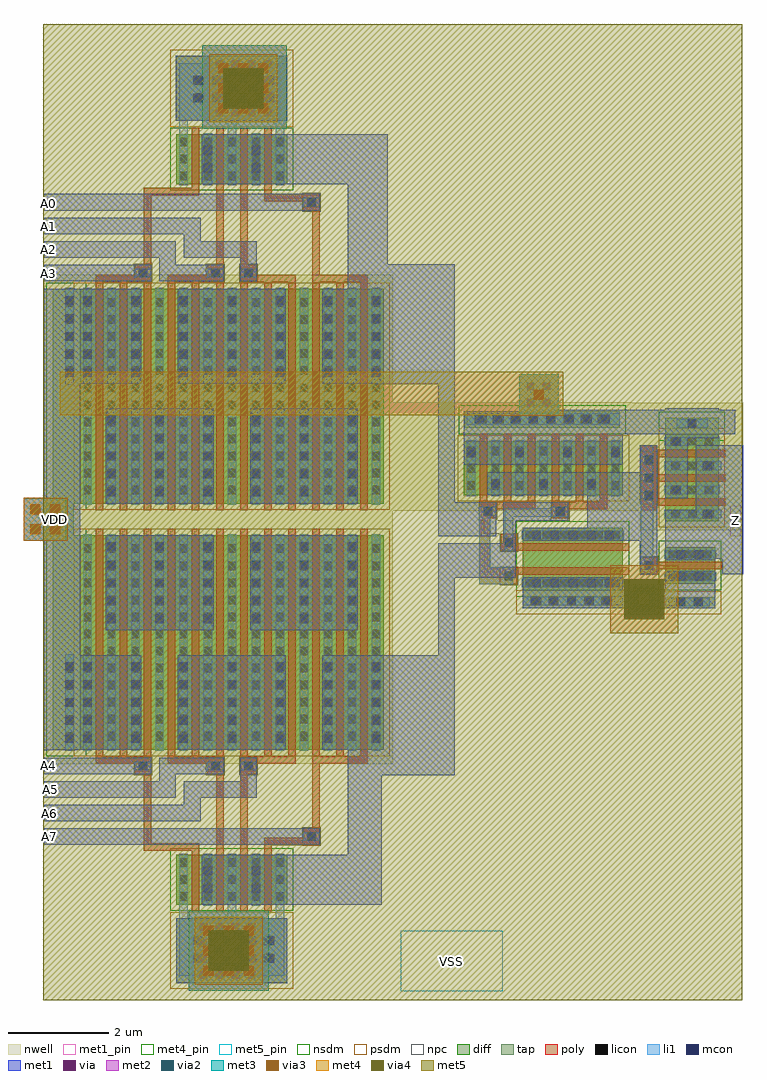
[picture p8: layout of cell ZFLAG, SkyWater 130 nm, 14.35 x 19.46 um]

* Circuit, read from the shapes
.subckt ZFLAG A0 A1 A2 A3 A4 A5 A6 A7 VDD VSS Z
XM1 NAND2_2/B A4 VSS VSS sky130_fd_pr__nfet_01v8 w=1 l=0.15
XM2 NAND2_2/A A3 VSS VSS sky130_fd_pr__nfet_01v8 w=1 l=0.15
XM3 VSS A5 NAND2_2/B VSS sky130_fd_pr__nfet_01v8 w=1 l=0.15
XM4 VSS A2 NAND2_2/A VSS sky130_fd_pr__nfet_01v8 w=1 l=0.15
XM5 NAND2_2/B A6 VSS VSS sky130_fd_pr__nfet_01v8 w=1 l=0.15
XM6 NAND2_2/A A1 VSS VSS sky130_fd_pr__nfet_01v8 w=1 l=0.15
XM7 VSS A7 NAND2_2/B VSS sky130_fd_pr__nfet_01v8 w=1 l=0.15
XM8 VSS A0 NAND2_2/A VSS sky130_fd_pr__nfet_01v8 w=1 l=0.15
XM9 n1 NAND2_2/A VSS VSS sky130_fd_pr__nfet_01v8 w=2 l=0.15
XM10 inv_3/A NAND2_2/B n1 VSS sky130_fd_pr__nfet_01v8 w=2 l=0.15
XM11 Z inv_3/A VSS VSS sky130_fd_pr__nfet_01v8 w=1 l=0.15
XM12 n2 A4 VDD VDD sky130_fd_pr__pfet_01v8 w=4.28 l=0.15 m=3
XM13 n3 A3 VDD VDD sky130_fd_pr__pfet_01v8 w=4.28 l=0.15 m=3
XM14 n4 A5 n2 VDD sky130_fd_pr__pfet_01v8 w=4.28 l=0.15 m=3
XM15 n5 A2 n3 VDD sky130_fd_pr__pfet_01v8 w=4.28 l=0.15 m=3
XM16 n6 A6 n4 VDD sky130_fd_pr__pfet_01v8 w=4.28 l=0.15 m=3
XM17 n7 A1 n5 VDD sky130_fd_pr__pfet_01v8 w=4.28 l=0.15 m=3
XM18 NAND2_2/B A7 n6 VDD sky130_fd_pr__pfet_01v8 w=4.28 l=0.15 m=3
XM19 NAND2_2/A A0 n7 VDD sky130_fd_pr__pfet_01v8 w=4.28 l=0.15 m=3
XM20 inv_3/A NAND2_2/A VDD VDD sky130_fd_pr__pfet_01v8 w=1.07 l=0.15 m=3
XM21 VDD NAND2_2/B inv_3/A VDD sky130_fd_pr__pfet_01v8 w=1.07 l=0.15 m=3
XM22 VDD inv_3/A Z VDD sky130_fd_pr__pfet_01v8 w=1.07 l=0.15 m=3
.ends

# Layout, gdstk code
from math import pi, radians
import gdstk
lib = gdstk.Library(unit=1e-6, precision=1e-09)
def R(c, l, rs):  # rectangles x0, y0, x1, y1
    for r in rs: c.add(gdstk.rectangle(r[:2], r[2:], *l))
def A(c, l, x, y, w, h, nx, ny, dx, dy):  # array of equal rectangles
    R(c, l, [(x+i*dx, y+j*dy, x+i*dx+w, y+j*dy+h) for i in range(nx) for j in range(ny)])
nwell = (64, 20)
diff = (65, 20)
tap = (65, 44)
poly = (66, 20)
licon = (66, 44)
li1 = (67, 20)
mcon = (67, 44)
met1_pin = (68, 16)
met1 = (68, 20)
via = (68, 44)
met2 = (69, 20)
via2 = (69, 44)
met3 = (70, 20)
via3 = (70, 44)
met4_pin = (71, 16)
met4 = (71, 20)
via4 = (71, 44)
met5_pin = (72, 16)
met5 = (72, 20)
nsdm = (93, 44)
psdm = (94, 20)
npc = (95, 20)

sky130_fd_pr__pfet_01v8_ = lib.new_cell('sky130_fd_pr__pfet_01v8_64A2S3')
R(sky130_fd_pr__pfet_01v8_, nwell, [(-3.205,-2.42,3.205,2.455)])
R(sky130_fd_pr__pfet_01v8_, diff, [(-3.025,-2.14,3.025,2.14)])
A(sky130_fd_pr__pfet_01v8_, poly, -2.715, -2.42, 1.11, 0.15, 4, 1, 1.44, 0)
A(sky130_fd_pr__pfet_01v8_, poly, -2.715, -2.27, 0.15, 4.54, 12, 1, 0.48, 0)
A(sky130_fd_pr__pfet_01v8_, licon, -2.965, -1.955, 0.17, 0.17, 13, 12, 0.48, 0.34)
A(sky130_fd_pr__pfet_01v8_, li1, -2.965, -2.16, 0.17, 4.32, 13, 1, 0.48, 0)
A(sky130_fd_pr__pfet_01v8_, mcon, -2.965, -2, 0.17, 0.17, 7, 5, 0.96, 0.36)
A(sky130_fd_pr__pfet_01v8_, mcon, -2.485, 0.385, 0.17, 0.17, 6, 5, 0.96, 0.36)
A(sky130_fd_pr__pfet_01v8_, met1, -2.995, -2.14, 0.23, 1.89, 7, 1, 0.96, 0)
A(sky130_fd_pr__pfet_01v8_, met1, -2.515, 0.24, 0.23, 1.9, 6, 1, 0.96, 0)
R(sky130_fd_pr__pfet_01v8_, psdm, [(-3.15,-2.265,3.15,2.265)])

sky130_fd_pr__nfet_01v8_ = lib.new_cell('sky130_fd_pr__nfet_01v8_S9NJ5Q')
R(sky130_fd_pr__nfet_01v8_, diff, [(-1.105,-0.5,1.105,0.5)])
A(sky130_fd_pr__nfet_01v8_, poly, -0.795, -0.63, 0.15, 1.26, 4, 1, 0.48, 0)
A(sky130_fd_pr__nfet_01v8_, licon, -1.045, -0.425, 0.17, 0.17, 5, 3, 0.48, 0.34)
A(sky130_fd_pr__nfet_01v8_, li1, -1.045, -0.52, 0.17, 1.04, 5, 1, 0.48, 0)
R(sky130_fd_pr__nfet_01v8_, mcon, [(-0.565,-0.265,-0.395,-0.095), (0.395,-0.265,0.565,-0.095), (-0.565,0.095,-0.395,0.265), (0.395,0.095,0.565,0.265)])
R(sky130_fd_pr__nfet_01v8_, met1, [(-0.595,-0.5,-0.365,0.5), (0.365,-0.5,0.595,0.5)])
R(sky130_fd_pr__nfet_01v8_, nsdm, [(-1.23,-0.625,1.23,0.625)])

nor4 = lib.new_cell('nor4')
R(nor4, nwell, [(-3.01,4.955,-2.46,5.115), (-3.01,5.115,-2.305,5.235), (-3.01,5.235,-2.28,7.335), (-3.01,7.335,-2.41,7.445), (-3.01,7.445,-2.46,9.83)])
R(nor4, tap, [(-0.36,0.59,1.85,1.875), (-2.83,5.235,-2.28,9.515)])
R(nor4, poly, [(-1.01,3.22,0.1,3.37), (0.43,3.25,0.58,4.75), (0.91,3.25,1.06,4.75), (1.39,3.275,1.54,3.335), (1.39,3.335,2.5,3.485), (-1.01,3.37,-0.86,4.75), (2.17,3.485,2.5,3.67), (2.35,3.67,2.5,4.955), (-1.19,4.75,-0.86,5.08), (0.25,4.75,0.58,5.08), (0.91,4.75,1.24,5.08)])
A(nor4, licon, 0.02, 0.995, 0.17, 0.17, 5, 2, 0.34, 0.34)
A(nor4, licon, -2.58, 5.415, 0.17, 0.17, 1, 5, 0, 0.34)
R(nor4, licon, [(2.25,3.42,2.42,3.59), (-1.11,4.83,-0.94,5), (0.33,4.83,0.5,5), (0.99,4.83,1.16,5)])
A(nor4, li1, -0.3, 1.875, 0.17, 0.25, 3, 1, 0.96, 0)
R(nor4, li1, [(-0.3,0.73,1.79,1.875), (2.17,3.42,2.5,3.59), (-1.19,4.83,-0.86,5), (0.25,4.83,0.58,5), (0.91,4.83,1.24,5), (-2.58,5.215,-2.41,7.145)])
A(nor4, mcon, -0.02, 0.985, 0.17, 0.17, 5, 2, 0.36, 0.36)
A(nor4, mcon, -2.58, 5.375, 0.17, 0.17, 1, 5, 0, 0.36)
R(nor4, mcon, [(2.25,3.42,2.42,3.59), (-1.11,4.83,-0.94,5), (0.33,4.83,0.5,5), (0.99,4.83,1.16,5)])
R(nor4, met1, [(-0.1,0.935,1.67,1.585), (0.38,2.145,3.74,3.145), (3.055,3.145,3.74,4.75), (-3.01,3.34,2.5,3.67), (-3.01,3.81,0.125,4.14), (-0.21,4.14,0.125,4.28), (-3.01,4.28,-0.375,4.61), (-0.21,4.28,1.24,4.61), (-0.705,4.61,-0.375,4.75), (0.91,4.61,1.24,5.08), (-3.01,4.75,-0.86,5.08), (-0.705,4.75,0.58,5.08), (3.055,4.75,3.95,5.08), (3.055,5.08,3.74,5.235), (-2.655,5.235,-2.25,7.125), (-2.02,5.235,-1.29,7.125), (-0.1,5.235,1.59,7.125), (2.78,5.235,3.51,7.125), (-1.54,7.615,-0.81,9.515), (-0.58,7.615,0.15,9.515), (1.34,7.615,3.03,9.515)])
R(nor4, nsdm, [(-2.955,5.11,-2.155,9.64)])
R(nor4, psdm, [(-0.485,0.465,1.975,2)])
R(nor4, npc, [(2.15,3.32,2.52,3.69), (-1.21,4.73,-0.84,5.1), (0.23,4.73,0.6,5.1), (0.89,4.73,1.26,5.1)])
nor4.add(gdstk.Reference(sky130_fd_pr__pfet_01v8_, (0.745,7.375)))
nor4.add(gdstk.Reference(sky130_fd_pr__nfet_01v8_, (0.745,2.645)))
nor4.add(gdstk.Label('A', (-3.01,4.905), layer=68, texttype=16))
nor4.add(gdstk.Label('B', (-3.01,4.445), layer=68, texttype=16))
nor4.add(gdstk.Label('C', (-3.01,3.965), layer=68, texttype=16))
nor4.add(gdstk.Label('D', (-3.01,3.49), layer=68, texttype=16))
nor4.add(gdstk.Label('VSS', (0.79,0.935), layer=68, texttype=16))
nor4.add(gdstk.Label('VDD', (-2.655,6.175), layer=68, texttype=16))
nor4.add(gdstk.Label('Y', (3.95,4.91), layer=68, texttype=16))

pmos_p2_w321_l015_f3 = lib.new_cell('pmos_p2-w321-L015-f3')
R(pmos_p2_w321_l015_f3, nwell, [(-1.765,-0.715,1.765,0.845)])
R(pmos_p2_w321_l015_f3, diff, [(-1.585,-0.535,1.585,0.535)])
A(pmos_p2_w321_l015_f3, poly, -1.275, -0.69, 0.15, 1.355, 6, 1, 0.48, 0)
R(pmos_p2_w321_l015_f3, poly, [(-1.275,0.665,-0.165,0.815), (0.165,0.665,1.275,0.815)])
A(pmos_p2_w321_l015_f3, licon, -1.525, -0.425, 0.17, 0.17, 7, 3, 0.48, 0.34)
A(pmos_p2_w321_l015_f3, li1, -1.525, -0.555, 0.17, 1.11, 7, 1, 0.48, 0)
A(pmos_p2_w321_l015_f3, mcon, -1.525, -0.39, 0.17, 0.17, 4, 1, 0.96, 0)
A(pmos_p2_w321_l015_f3, mcon, -1.045, 0.22, 0.17, 0.17, 3, 1, 0.96, 0)
R(pmos_p2_w321_l015_f3, met1, [(-1.585,-0.535,1.585,-0.075), (-1.125,0.075,1.585,0.535)])
R(pmos_p2_w321_l015_f3, psdm, [(-1.71,-0.66,1.71,0.66)])

nmos_2shared_w200_l015_f = lib.new_cell('nmos_2shared_W200-L015-F1')
R(nmos_2shared_w200_l015_f, diff, [(-0.625,-1,0.625,1)])
R(nmos_2shared_w200_l015_f, poly, [(-0.315,-1.13,-0.165,1.13), (0.165,-1.13,0.315,1.13)])
A(nmos_2shared_w200_l015_f, licon, -0.565, -0.935, 0.17, 0.17, 1, 6, 0, 0.34)
A(nmos_2shared_w200_l015_f, licon, 0.395, -0.935, 0.17, 0.17, 1, 6, 0, 0.34)
R(nmos_2shared_w200_l015_f, li1, [(-0.565,-1.02,-0.395,1.02), (0.395,-1.02,0.565,1.02)])
A(nmos_2shared_w200_l015_f, mcon, -0.565, -0.805, 0.17, 0.17, 1, 5, 0, 0.36)
A(nmos_2shared_w200_l015_f, mcon, 0.395, -0.805, 0.17, 0.17, 1, 5, 0, 0.36)
R(nmos_2shared_w200_l015_f, met1, [(-0.595,-1,-0.365,1), (0.365,-1,0.595,1)])
R(nmos_2shared_w200_l015_f, nsdm, [(-0.75,-1.125,0.75,1.125)])

nand2 = lib.new_cell('NAND2')
R(nand2, nwell, [(1.78,3.42,5.31,4.02)])
R(nand2, diff, [(3.13,0.27,5.13,0.3), (4.97,0.73,4.98,0.74)])
R(nand2, tap, [(3.13,-0.085,5.13,0.27), (1.98,3.51,5.065,3.84)])
R(nand2, poly, [(2.265,0.395,3.02,0.73), (2.265,0.73,2.48,1.705), (2.69,1.06,3.57,1.21), (2.69,1.21,3.02,1.395), (2.265,1.705,2.6,2.04), (3.71,1.705,4.045,2.04)])
A(nand2, licon, 3.335, -0.03, 0.17, 0.17, 5, 1, 0.34, 0)
A(nand2, licon, 2.245, 3.6, 0.17, 0.17, 8, 1, 0.34, 0)
R(nand2, licon, [(2.77,0.475,2.94,0.645), (2.77,1.14,2.94,1.31), (2.35,1.76,2.52,1.93), (3.795,1.76,3.965,1.93)])
R(nand2, li1, [(3.13,-0.03,5.13,0.14), (2.265,0.395,2.94,0.73), (2.265,0.73,2.48,1.76), (2.77,1.06,2.94,1.735), (2.77,1.735,4.045,1.905), (2.265,1.76,2.6,1.935), (3.71,1.905,4.045,1.935), (2.02,3.57,5.065,3.805)])
A(nand2, mcon, 3.295, -0.03, 0.17, 0.17, 5, 1, 0.36, 0)
A(nand2, mcon, 2.175, 3.6, 0.17, 0.17, 8, 1, 0.36, 0)
R(nand2, mcon, [(2.77,1.14,2.94,1.31), (2.35,1.76,2.52,1.93), (3.795,1.76,3.965,1.93)])
R(nand2, met1, [(3.13,-0.085,5.13,0.525), (1.78,0.525,2.99,1.205), (2.74,1.205,2.99,1.66), (3.13,1.26,5.31,1.52), (1.78,1.35,2.6,2.025), (4.42,1.52,5.31,2.17), (2.74,1.66,4.04,2.03), (2.425,2.17,5.31,2.63), (1.955,2.775,5.125,3.84)])
R(nand2, nsdm, [(3.005,0.27,5.255,0.425), (4.845,0.425,5.105,0.865), (1.855,3.385,5.19,3.965)])
R(nand2, psdm, [(3.005,-0.21,5.255,0.27)])
R(nand2, npc, [(2.67,0.375,3.04,0.745), (2.67,1.04,3.04,1.4), (2.35,1.4,3.04,1.41), (2.35,1.41,2.94,1.66), (2.25,1.66,2.94,1.67), (3.695,1.66,4.065,2.03), (2.25,1.67,2.62,2.03)])
nand2.add(gdstk.Reference(pmos_p2_w321_l015_f3, (3.545,2.705), x_reflection=True))
nand2.add(gdstk.Reference(nmos_2shared_w200_l015_f, (4.13,0.895), rotation=3*pi/2))
nand2.add(gdstk.Label('A', (1.78,1.705), layer=68, texttype=16))
nand2.add(gdstk.Label('B', (1.78,0.865), layer=68, texttype=16))
nand2.add(gdstk.Label('VSS', (4.13,0.27), layer=68, texttype=16))
nand2.add(gdstk.Label('VDD', (3.545,3.42), layer=68, texttype=16))
nand2.add(gdstk.Label('Y', (5.31,2.255), layer=68, texttype=16))

c_sky130_fd_pr__nfet_01v8_ = lib.new_cell('sky130_fd_pr__nfet_01v8_6H9P4D')
R(c_sky130_fd_pr__nfet_01v8_, diff, [(-0.365,-0.5,0.365,0.5)])
R(c_sky130_fd_pr__nfet_01v8_, poly, [(-0.075,-0.63,0.075,0.63)])
A(c_sky130_fd_pr__nfet_01v8_, licon, -0.305, -0.425, 0.17, 0.17, 1, 3, 0, 0.34)
A(c_sky130_fd_pr__nfet_01v8_, licon, 0.135, -0.425, 0.17, 0.17, 1, 3, 0, 0.34)
R(c_sky130_fd_pr__nfet_01v8_, li1, [(-0.305,-0.52,-0.135,0.52), (0.135,-0.52,0.305,0.52)])
R(c_sky130_fd_pr__nfet_01v8_, mcon, [(-0.305,-0.265,-0.135,-0.095), (0.135,-0.265,0.305,-0.095), (-0.305,0.095,-0.135,0.265), (0.135,0.095,0.305,0.265)])
R(c_sky130_fd_pr__nfet_01v8_, met1, [(-0.335,-0.5,-0.105,0.5), (0.105,-0.5,0.335,0.5)])
R(c_sky130_fd_pr__nfet_01v8_, nsdm, [(-0.49,-0.625,0.49,0.625)])

efepmos_w107_l15_f3 = lib.new_cell('efepmos_W107-L15-F3')
R(efepmos_w107_l15_f3, nwell, [(-1.045,-1.035,1.045,0.845)])
R(efepmos_w107_l15_f3, diff, [(-0.865,-0.535,0.865,0.535)])
A(efepmos_w107_l15_f3, poly, -0.555, -0.69, 0.15, 1.355, 3, 1, 0.48, 0)
R(efepmos_w107_l15_f3, poly, [(-0.645,-1.02,0.645,-0.69)])
A(efepmos_w107_l15_f3, licon, -0.425, -0.94, 0.17, 0.17, 3, 1, 0.34, 0)
A(efepmos_w107_l15_f3, licon, -0.805, -0.425, 0.17, 0.17, 1, 3, 0, 0.34)
A(efepmos_w107_l15_f3, licon, 0.155, -0.425, 0.17, 0.17, 1, 3, 0, 0.34)
A(efepmos_w107_l15_f3, licon, -0.325, -0.415, 0.17, 0.17, 1, 3, 0, 0.34)
A(efepmos_w107_l15_f3, licon, 0.635, -0.415, 0.17, 0.17, 1, 3, 0, 0.34)
R(efepmos_w107_l15_f3, li1, [(-0.645,-0.94,0.645,-0.77), (-0.805,-0.555,-0.635,0.555), (-0.325,-0.555,-0.155,0.585), (0.155,-0.555,0.325,0.555), (0.635,-0.555,0.805,0.585)])
A(efepmos_w107_l15_f3, mcon, -0.445, -0.94, 0.17, 0.17, 3, 1, 0.36, 0)
R(efepmos_w107_l15_f3, mcon, [(-0.805,-0.395,-0.635,-0.225), (0.155,-0.395,0.325,-0.225), (-0.325,0.215,-0.155,0.385), (0.635,0.215,0.805,0.385)])
R(efepmos_w107_l15_f3, met1, [(-0.645,-1.02,0.645,-0.69), (-1.045,-0.535,0.405,-0.08), (-0.405,0.08,1.045,0.535)])
R(efepmos_w107_l15_f3, psdm, [(-0.99,-0.66,0.99,0.66)])
R(efepmos_w107_l15_f3, npc, [(-0.525,-1.04,0.525,-0.67)])

inv = lib.new_cell('inv')
R(inv, nwell, [(1.88,0,2.06,1.83), (1.63,1.44,1.715,1.45), (1.115,1.45,1.715,1.69), (0.505,1.735,0.52,1.83), (0,1.83,2.06,2.43)])
R(inv, tap, [(0.5,-1.555,1.5,-1.34), (0.5,1.91,1.57,2.24)])
R(inv, poly, [(0.015,-0.87,0.35,-0.78), (0.015,-0.78,0.375,-0.63), (0.015,-0.63,0.35,-0.54)])
R(inv, licon, [(0.73,-1.52,0.9,-1.35), (1.07,-1.52,1.24,-1.35), (0.095,-0.79,0.265,-0.62), (0.955,2.04,1.125,2.21)])
R(inv, li1, [(0.575,-1.52,1.395,-1.35), (0.015,-0.87,0.265,1.695), (0.735,2.04,1.35,2.21)])
R(inv, mcon, [(0.72,-1.52,0.89,-1.35), (1.08,-1.52,1.25,-1.35), (0.095,-0.79,0.265,-0.62), (0.955,2.04,1.125,2.21)])
R(inv, met1, [(0.5,-1.555,1.5,-0.805), (0,-0.875,0.345,0.4), (1.64,-0.875,2.06,-0.57), (0.5,-0.57,2.06,0.41), (0,0.4,0.265,1.69), (1.115,0.41,2.06,1.69), (0.505,1.735,0.52,1.83), (0.5,1.83,1.57,2.43)])
R(inv, nsdm, [(0.375,1.785,1.695,2.365)])
R(inv, psdm, [(0.375,-1.68,1.625,-1.215)])
R(inv, npc, [(-0.005,-0.89,0.365,-0.52)])
inv.add(gdstk.Reference(c_sky130_fd_pr__nfet_01v8_, (1,-0.705), rotation=3*pi/2))
inv.add(gdstk.Reference(efepmos_w107_l15_f3, (1.035,1.045), rotation=3*pi/2))
inv.add(gdstk.Label('A', (0,0.39), layer=68, texttype=16))
inv.add(gdstk.Label('VSS', (0.99,-1.555), layer=68, texttype=16))
inv.add(gdstk.Label('VDD', (1.05,2.43), layer=68, texttype=16))
inv.add(gdstk.Label('Y', (2.06,0.39), layer=68, texttype=16))

zflag = lib.new_cell('ZFLAG')
R(zflag, nwell, [(0.54,8.86,1.09,10.12), (7.245,9.365,8.715,11.525), (12.09,9.365,14.315,11.52)])
R(zflag, tap, [(0.54,8.86,1.09,8.875), (0.54,8.875,0.965,9.505), (0.54,9.505,1.09,10.12)])
R(zflag, met1_pin, [(0.42,2.76,0.54,2.96), (0.42,3.22,0.54,3.42), (0.43,3.7,0.55,3.9), (0.4,4.18,0.52,4.38), (14.06,8.855,14.26,9.465), (0.43,14,0.49,14.18), (0.43,14.48,0.49,14.66), (0.43,14.95,0.49,15.13), (0.42,15.41,0.48,15.59)])
R(zflag, met1, [(3.01,-0.06,5.225,1.235), (0.39,2.71,0.58,3.02), (0.38,3.18,0.57,3.49), (0.38,3.65,0.57,3.96), (6.955,4.085,8.565,4.22), (0.37,4.12,0.56,4.43), (6.66,4.22,8.565,6.48), (0.36,4.59,1.09,8.765), (8.235,6.48,8.565,8.33), (11.905,7.42,13.305,7.775), (8.235,8.33,8.57,8.66), (8.235,8.66,8.565,8.71), (-0.035,8.765,1.09,9.615), (12.095,8.765,12.585,10.135), (14.01,8.795,14.31,9.545), (8.235,8.855,8.565,11.89), (0.36,9.615,1.09,13.785), (8.8,10.855,11.91,10.885), (8.8,10.885,14.16,11.265), (9.9,11.265,14.16,11.295), (9.85,11.295,14.16,11.38), (9.85,11.38,10.635,12.08), (6.98,11.89,8.565,13.945), (6.895,13.945,8.565,14.275), (0.37,13.95,0.56,14.26), (6.895,14.275,7.225,16.875), (0.36,14.42,0.55,14.73), (0.37,14.89,0.56,15.18), (0.36,15.36,0.55,15.65), (3,17.145,5.225,18.435)])
A(zflag, via, 3.47, 0.03, 0.15, 0.15, 4, 4, 0.32, 0.32)
A(zflag, via, 3.79, 17.235, 0.15, 0.15, 4, 4, 0.32, 0.32)
R(zflag, via, [(12.26,7.52,12.41,7.67), (0.155,8.955,0.305,9.105), (0.475,8.955,0.625,9.105), (0.155,9.275,0.305,9.425), (0.475,9.275,0.625,9.425), (10,11.445,10.15,11.595), (10.32,11.445,10.47,11.595), (10,11.765,10.15,11.915), (10.32,11.765,10.47,11.915)])
R(zflag, met2, [(3.255,-0.215,4.855,1.385), (12.105,7.365,12.57,7.83), (-0.035,8.765,0.815,9.615), (9.85,11.295,10.635,12.08), (3.525,16.98,5.215,18.65)])
A(zflag, via2, 3.55, 0.085, 0.2, 0.2, 3, 3, 0.4, 0.4)
A(zflag, via2, 3.845, 17.29, 0.2, 0.2, 3, 3, 0.4, 0.4)
R(zflag, via2, [(12.235,7.495,12.435,7.695), (0.09,8.89,0.29,9.09), (0.49,8.89,0.69,9.09), (0.09,9.29,0.29,9.49), (0.49,9.29,0.69,9.49), (10.135,11.58,10.335,11.78)])
R(zflag, met3, [(3.255,-0.215,4.855,1.385), (12.03,7.295,12.66,7.895), (-0.035,8.765,0.815,9.615), (9.85,11.295,10.635,12.08), (3.525,16.98,5.215,18.65)])
A(zflag, via3, 3.55, 0.085, 0.2, 0.2, 3, 3, 0.4, 0.4)
A(zflag, via3, 3.845, 17.29, 0.2, 0.2, 3, 3, 0.4, 0.4)
R(zflag, via3, [(12.235,7.495,12.435,7.695), (0.09,8.89,0.29,9.09), (0.49,8.89,0.69,9.09), (0.09,9.29,0.29,9.49), (0.49,9.29,0.69,9.49), (10.135,11.58,10.335,11.78)])
R(zflag, met4_pin, [(0.47,8.91,0.69,9.46)])
R(zflag, met4, [(3.375,-0.09,4.735,1.27), (11.66,6.92,13.02,8.28), (-0.035,8.765,0.84,9.625), (9.49,11.255,10.72,11.27), (0.685,11.27,10.72,12.13), (3.665,17.11,5.025,18.47)])
R(zflag, via4, [(3.655,0.19,4.455,0.99), (11.94,7.2,12.74,8), (3.945,17.39,4.745,18.19)])
R(zflag, met5_pin, [(7.485,-0.22,9.515,0.985)])
R(zflag, met5, [(0.355,-0.395,14.295,19.07)])
R(zflag, nsdm, [(0.415,8.735,1.215,9), (0.415,9,1.09,9.38), (0.415,9.38,1.215,10.245)])
zflag.add(gdstk.Reference(nor4, (3.37,-0.64)))
zflag.add(gdstk.Reference(nor4, (3.37,19.02), x_reflection=True))
zflag.add(gdstk.Reference(nand2, (6.785,7.505)))
zflag.add(gdstk.Reference(inv, (12.255,8.975)))
zflag.add(gdstk.Label('A0', (0.45,15.5), layer=68, texttype=16))
zflag.add(gdstk.Label('A1', (0.46,15.04), layer=68, texttype=16))
zflag.add(gdstk.Label('A2', (0.46,14.57), layer=68, texttype=16))
zflag.add(gdstk.Label('A3', (0.46,14.09), layer=68, texttype=16))
zflag.add(gdstk.Label('A4', (0.46,4.28), layer=68, texttype=16))
zflag.add(gdstk.Label('A5', (0.49,3.8), layer=68, texttype=16))
zflag.add(gdstk.Label('A6', (0.48,3.32), layer=68, texttype=16))
zflag.add(gdstk.Label('A7', (0.48,2.86), layer=68, texttype=16))
zflag.add(gdstk.Label('Z', (14.16,9.16), layer=68, texttype=16))
zflag.add(gdstk.Label('VSS', (8.5,0.382), layer=72, texttype=16))
zflag.add(gdstk.Label('VDD', (0.58,9.185), layer=71, texttype=16))

lib.write_gds('ZFLAG.gds')
